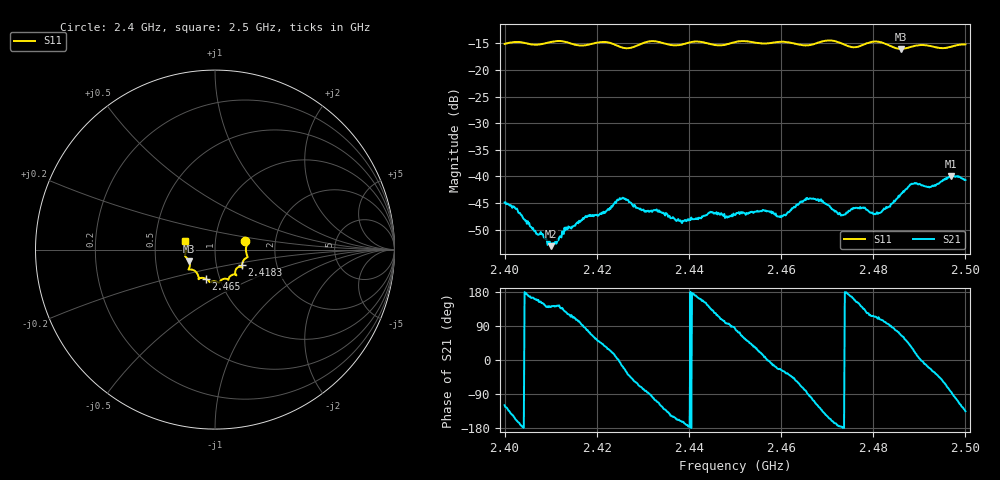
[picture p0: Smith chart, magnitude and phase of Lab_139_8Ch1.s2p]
# Hz S RI R 50
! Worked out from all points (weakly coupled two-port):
!   601 points, 2.4 GHz to 2.5 GHz, reference 50 ohm
!   highest |S21| = -39.94 dB at 2.4968 GHz (marker M1); lowest = -53.1 dB at 2.41 GHz (marker M2)
!   lowest |S11| = -16.1 dB at 2.486 GHz (marker M3), VSWR 1.37, Z = 37.2 - j5 ohm
!   |S11| at or under -10 dB: start of sweep to end of sweep
!   S12 and S22 are empty: the file has one direction only
!   S11 on the Smith chart (normalised r, x): 2.4 GHz: 1.40, +0.13; 2.4183 GHz: 1.33, -0.24; 2.465 GHz: 0.86, -0.29; 2.5 GHz: 0.71, +0.07
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2.4e9  0.1694 0.0458  -0.00279 -0.00497  0 0  0 0
2.41e9  0.1795 -0.0348  -0.00169 0.00143  0 0  0 0
2.416667e9  0.1549 -0.0683  -0.000265 0.00388  0 0  0 0
2.418333e9  0.1499 -0.0872  0.00125 0.00407  0 0  0 0
2.4255e9  0.1296 -0.0977  0.00598 -0.00168  0 0  0 0
2.433333e9  0.1175 -0.141  -0.00174 -0.00434  0 0  0 0
2.438333e9  0.0805 -0.1523  -0.00354 -0.00119  0 0  0 0
2.444667e9  0.0644 -0.1626  -0.00332 0.00327  0 0  0 0
2.45e9  0.0256 -0.1808  0.000508 0.0043  0 0  0 0
2.4565e9  -0.00538 -0.1769  0.00471 0.000715  0 0  0 0
2.459833e9  -0.0271 -0.1816  0.00386 -0.00172  0 0  0 0
2.465e9  -0.0523 -0.1618  0.00126 -0.00583  0 0  0 0
2.466667e9  -0.0713 -0.1574  -0.00116 -0.00606  0 0  0 0
2.473333e9  -0.0922 -0.1496  -0.00432 -9.23e-05  0 0  0 0
2.476667e9  -0.1177 -0.1156  -0.00441 0.00242  0 0  0 0
2.4805e9  -0.148 -0.1107  -0.00182 0.00403  0 0  0 0
2.483333e9  -0.1412 -0.0964  -0.000348 0.00517  0 0  0 0
2.486e9  -0.1431 -0.0655  0.0028 0.00618  0 0  0 0
2.4885e9  -0.1603 -0.0437  0.00735 0.00427  0 0  0 0
2.4925e9  -0.1655 -0.0243  0.00727 -0.00325  0 0  0 0
2.496833e9  -0.1626 0.026  0.0011 -0.01  0 0  0 0
2.5e9  -0.1672 0.0465  -0.00659 -0.00653  0 0  0 0
